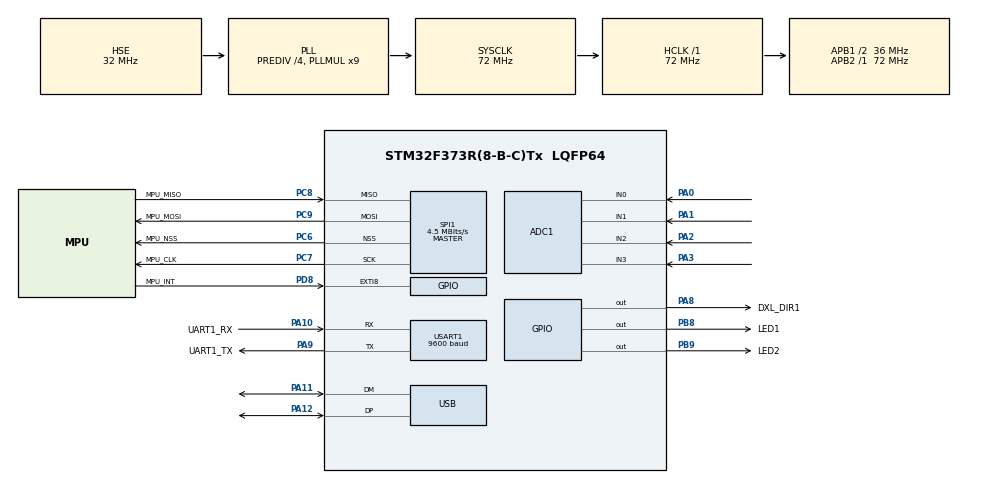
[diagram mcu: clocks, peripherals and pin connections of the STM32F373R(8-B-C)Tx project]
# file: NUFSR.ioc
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ADC1.Channel-0\#ChannelRegularConversion=ADC_CHANNEL_0
ADC1.Channel-1\#ChannelRegularConversion=ADC_CHANNEL_1
ADC1.Channel-2\#ChannelRegularConversion=ADC_CHANNEL_2
ADC1.Channel-3\#ChannelRegularConversion=ADC_CHANNEL_3
ADC1.ContinuousConvMode=DISABLE
ADC1.DataAlign=ADC_DATAALIGN_RIGHT
ADC1.ExternalTrigConv=ADC_EXTERNALTRIGCONV_T3_TRGO
ADC1.NbrOfConversion=4
ADC1.NbrOfConversionFlag=1
ADC1.Rank-0\#ChannelRegularConversion=1
ADC1.Rank-1\#ChannelRegularConversion=2
ADC1.Rank-2\#ChannelRegularConversion=3
ADC1.Rank-3\#ChannelRegularConversion=4
ADC1.SamplingTime-0\#ChannelRegularConversion=ADC_SAMPLETIME_1CYCLE_5
ADC1.SamplingTime-1\#ChannelRegularConversion=ADC_SAMPLETIME_1CYCLE_5
ADC1.SamplingTime-2\#ChannelRegularConversion=ADC_SAMPLETIME_1CYCLE_5
ADC1.SamplingTime-3\#ChannelRegularConversion=ADC_SAMPLETIME_1CYCLE_5
ADC1.master=1
Dma.ADC1.0.Direction=DMA_PERIPH_TO_MEMORY
Dma.ADC1.0.Instance=DMA1_Channel1
Dma.ADC1.0.MemDataAlignment=DMA_MDATAALIGN_HALFWORD
Dma.ADC1.0.MemInc=DMA_MINC_ENABLE
Dma.ADC1.0.Mode=DMA_CIRCULAR
Dma.ADC1.0.PeriphDataAlignment=DMA_PDATAALIGN_HALFWORD
Dma.ADC1.0.PeriphInc=DMA_PINC_DISABLE
Dma.ADC1.0.Priority=DMA_PRIORITY_VERY_HIGH
Dma.Request0=ADC1
Dma.Request1=USART1_RX
Dma.Request2=USART1_TX
Dma.USART1_RX.1.Direction=DMA_PERIPH_TO_MEMORY
Dma.USART1_RX.1.Instance=DMA1_Channel5
Dma.USART1_RX.1.MemDataAlignment=DMA_MDATAALIGN_BYTE
Dma.USART1_RX.1.MemInc=DMA_MINC_ENABLE
Dma.USART1_RX.1.Mode=DMA_NORMAL
Dma.USART1_RX.1.PeriphDataAlignment=DMA_PDATAALIGN_BYTE
Dma.USART1_RX.1.PeriphInc=DMA_PINC_DISABLE
Dma.USART1_RX.1.Priority=DMA_PRIORITY_LOW
Dma.USART1_TX.2.Direction=DMA_MEMORY_TO_PERIPH
Dma.USART1_TX.2.Instance=DMA1_Channel4
Dma.USART1_TX.2.MemDataAlignment=DMA_MDATAALIGN_BYTE
Dma.USART1_TX.2.MemInc=DMA_MINC_ENABLE
Dma.USART1_TX.2.Mode=DMA_NORMAL
Dma.USART1_TX.2.PeriphDataAlignment=DMA_PDATAALIGN_BYTE
Dma.USART1_TX.2.PeriphInc=DMA_PINC_DISABLE
Dma.USART1_TX.2.Priority=DMA_PRIORITY_LOW
Mcu.Family=STM32F3
Mcu.Name=STM32F373R(8-B-C)Tx
Mcu.Package=LQFP64
NVIC.ADC1_IRQn=true\:0\:0\:false\:false\:true\:true\:true\:true
NVIC.DMA1_Channel1_IRQn=true\:0\:0\:false\:false\:true\:false\:true\:true
NVIC.DMA1_Channel4_IRQn=true\:0\:0\:false\:false\:true\:false\:true\:true
NVIC.DMA1_Channel5_IRQn=true\:0\:0\:false\:false\:true\:false\:true\:true
NVIC.EXTI9_5_IRQn=true\:0\:0\:false\:false\:true\:true\:true\:true
NVIC.PriorityGroup=NVIC_PRIORITYGROUP_4
NVIC.SPI1_IRQn=true\:0\:0\:false\:false\:true\:true\:true\:true
NVIC.USART1_IRQn=true\:0\:0\:false\:false\:true\:true\:true\:true
PA0.Mode=IN0
PA0.Signal=ADC1_IN0
PA1.Mode=IN1
PA1.Signal=ADC1_IN1
PA10.GPIO_Label=UART1_RX
PA10.GPIO_ModeDefaultPP=GPIO_MODE_AF_PP
PA10.GPIO_PuPd=GPIO_NOPULL
PA10.GPIO_Speed=GPIO_SPEED_FREQ_HIGH
PA10.Mode=Asynchronous
PA10.Signal=USART1_RX
PA11.Mode=Device
PA11.Signal=USB_DM
PA12.Mode=Device
PA12.Signal=USB_DP
PA13.GPIO_Label=JTAG_TMS
PA13.Mode=JTAG_5_pins
PA13.Signal=SYS_JTMS-SWDIO
PA14.GPIO_Label=JTAG_TCK
PA14.Mode=JTAG_5_pins
PA14.Signal=SYS_JTCK-SWCLK
PA15.GPIO_Label=JTAG_TDI
PA15.Mode=JTAG_5_pins
PA15.Signal=SYS_JTDI
PA2.Mode=IN2
PA2.Signal=ADC1_IN2
PA3.Mode=IN3
PA3.Signal=ADC1_IN3
PA8.GPIO_Label=DXL_DIR1
PA8.Signal=GPIO_Output
PA9.GPIO_Label=UART1_TX
PA9.GPIO_ModeDefaultPP=GPIO_MODE_AF_PP
PA9.GPIO_PuPd=GPIO_NOPULL
PA9.GPIO_Speed=GPIO_SPEED_FREQ_HIGH
PA9.Mode=Asynchronous
PA9.Signal=USART1_TX
PB3.GPIO_Label=JTAG_TDO
PB3.Mode=JTAG_5_pins
PB3.Signal=SYS_JTDO-TRACESWO
PB4.GPIO_Label=JTAG_RST
PB4.Mode=JTAG_5_pins
PB4.Signal=SYS_NJTRST
PB8.GPIO_Label=LED1
PB8.GPIO_ModeDefaultOutputPP=GPIO_MODE_OUTPUT_PP
PB8.GPIO_PuPd=GPIO_NOPULL
PB8.PinState=GPIO_PIN_SET
PB8.Signal=GPIO_Output
PB9.GPIO_Label=LED2
PB9.PinState=GPIO_PIN_RESET
PB9.Signal=GPIO_Output
PC6.GPIO_Label=MPU_NSS
PC6.Mode=NSS_Signal_Hard_Output
PC6.Signal=SPI1_NSS
PC7.GPIO_Label=MPU_CLK
PC7.Mode=Full_Duplex_Master
PC7.Signal=SPI1_SCK
PC8.GPIO_Label=MPU_MISO
PC8.Mode=Full_Duplex_Master
PC8.Signal=SPI1_MISO
PC9.GPIO_Label=MPU_MOSI
PC9.Mode=Full_Duplex_Master
PC9.Signal=SPI1_MOSI
PD8.GPIO_Label=MPU_INT
PD8.Signal=GPXTI8
PF0-OSC_IN.GPIO_Label=XTAL_32MHZ_IN
PF0-OSC_IN.Mode=HSE-External-Oscillator
PF0-OSC_IN.Signal=RCC_OSC_IN
PF1-OSC_OUT.GPIO_Label=XTAL_32MHZ_OUT
PF1-OSC_OUT.Mode=HSE-External-Oscillator
PF1-OSC_OUT.Signal=RCC_OSC_OUT
ProjectManager.HeapSize=0x200
ProjectManager.StackSize=0x400
ProjectManager.TargetToolchain=STM32CubeIDE
RCC.AHBFreq_Value=72000000
RCC.APB1CLKDivider=RCC_HCLK_DIV2
RCC.APB1Freq_Value=36000000
RCC.APB1TimFreq_Value=72000000
RCC.APB2Freq_Value=72000000
RCC.APB2TimFreq_Value=72000000
RCC.CortexFreq_Value=72000000
RCC.HCLKFreq_Value=72000000
RCC.HSE_VALUE=32000000
RCC.HSI_VALUE=8000000
RCC.LSE_VALUE=32768
RCC.PLLMUL=RCC_PLL_MUL9
RCC.PRESCALERUSB=RCC_USBCLKSOURCE_PLL_DIV1_5
RCC.RCC_PLLsource_Clock_Source_FROM_HSE=RCC_HSE_PREDIV_DIV4
RCC.SYSCLKFreq_VALUE=72000000
RCC.SYSCLKSource=RCC_SYSCLKSOURCE_PLLCLK
RCC.USBFreq_Value=48000000
RCC.Usart3ClockSelection=RCC_USART3CLKSOURCE_SYSCLK
SPI1.BaudRatePrescaler=SPI_BAUDRATEPRESCALER_16
SPI1.CLKPhase=SPI_PHASE_2EDGE
SPI1.CLKPolarity=SPI_POLARITY_HIGH
SPI1.CalculateBaudRate=4.5 MBits/s
SPI1.DataSize=SPI_DATASIZE_16BIT
SPI1.Direction=SPI_DIRECTION_2LINES
SPI1.Mode=SPI_MODE_MASTER
SPI1.VirtualNSS=VM_NSSHARD
SPI1.VirtualType=VM_MASTER
TIM3.Prescaler=10
TIM3.TIM_MasterOutputTrigger=TIM_TRGO_UPDATE
USART1.BaudRate=9600
USART1.Mode=MODE_TX_RX
USART1.VirtualMode-Asynchronous=VM_ASYNC
VP_TIM3_VS_ClockSourceINT.Mode=Internal
board=custom

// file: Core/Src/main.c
/* USER CODE BEGIN Header */
/**
  ******************************************************************************
  * @file           : main.c
  * @brief          : Main program body
  ******************************************************************************
  * @attention
  *
  * <h2><center>&copy; Copyright (c) 2020 STMicroelectronics.
  * All rights reserved.</center></h2>
  *
  * This software component is licensed by ST under BSD 3-Clause license,
  * the "License"; You may not use this file except in compliance with the
  * License. You may obtain a copy of the License at:
  *                        opensource.org/licenses/BSD-3-Clause
  *
  ******************************************************************************
  */
/* USER CODE END Header */
#include "main.h"
#include "adc.h"
#include "dma.h"
#include "spi.h"
#include "tim.h"
#include "usart.h"
#include "usb.h"
#include "gpio.h"

/* USER CODE BEGIN Includes */
#include "imu.h"
/* USER CODE END Includes */

void SystemClock_Config(void);
static void MX_NVIC_Init(void);

/* USER CODE BEGIN 0 */
//ADC_HandleTypeDef hadc1;
//DMA_HandleTypeDef hdma_adc1;
//TIM_HandleTypeDef htim3;

/* USER CODE END 0 */

int main(void)
{

  /* MCU Configuration--------------------------------------------------------*/

  /* Reset of all peripherals, Initializes the Flash interface and the Systick. */
  HAL_Init();

  /* Configure the system clock */
  SystemClock_Config();

  /* Initialize all configured peripherals */
  MX_GPIO_Init();
  MX_DMA_Init();
  MX_ADC1_Init();
  MX_SPI1_Init();
  MX_USART1_UART_Init();
  MX_USB_PCD_Init();
  MX_TIM3_Init();

  /* Initialize interrupts */
  MX_NVIC_Init();
  /* USER CODE BEGIN 2 */

  NUfsr_IMU_Init();
  uint16_t Rx = 0x0000;
  uint16_t* Ptr_Rx = &Rx;
  uint16_t adc_var[4];
//  uint8_t count;
//  uint8_t set_flag;
  /* USER CODE END 2 */

  /* Infinite loop */
  /* USER CODE BEGIN WHILE */
//  	count = 0;
    HAL_TIM_Base_Start(&htim3);
  	HAL_ADC_Start_DMA(&hadc1, &adc_var, 4); // DMA Start
  	while (1)
  	{
	  if ((adc_var[0] > 250) || (adc_var[3] > 250)) {
		  HAL_GPIO_WritePin(GPIOB,LED1_Pin,0);// LED ON
	  }
	  else {
		  HAL_GPIO_WritePin(GPIOB,LED1_Pin,1);// LED OFF
	  }
	  if ((adc_var[1] > 250) || (adc_var[2] > 250)) {
		  HAL_GPIO_WritePin(GPIOB,LED2_Pin,0);// LED ON
	  }
	  else {
		  HAL_GPIO_WritePin(GPIOB,LED2_Pin,1);// LED OFF
	  }

//	NUfsr_IMU_TransmitReceive(ACCEL_XOUT_L | IMU_READ, 0x00, Ptr_Rx, 1); //Previous code
//	NUfsr_UART_Transmit(&huart1, (void*)Ptr_Rx, 1);
	HAL_Delay(100);

  	}
    /* USER CODE END WHILE */

}

void SystemClock_Config(void)
{
  RCC_OscInitTypeDef RCC_OscInitStruct = {0};
  RCC_ClkInitTypeDef RCC_ClkInitStruct = {0};
  RCC_PeriphCLKInitTypeDef PeriphClkInit = {0};

  /** Initializes the RCC Oscillators according to the specified parameters
  * in the RCC_OscInitTypeDef structure.
  */
  RCC_OscInitStruct.OscillatorType = RCC_OSCILLATORTYPE_HSE;
  RCC_OscInitStruct.HSEState = RCC_HSE_ON;
  RCC_OscInitStruct.HSEPredivValue = RCC_HSE_PREDIV_DIV4;
  RCC_OscInitStruct.HSIState = RCC_HSI_ON;
  RCC_OscInitStruct.PLL.PLLState = RCC_PLL_ON;
  RCC_OscInitStruct.PLL.PLLSource = RCC_PLLSOURCE_HSE;
  RCC_OscInitStruct.PLL.PLLMUL = RCC_PLL_MUL9;
  if (HAL_RCC_OscConfig(&RCC_OscInitStruct) != HAL_OK)
  {
    Error_Handler();
  }

  /** Initializes the CPU, AHB and APB buses clocks
  */
  RCC_ClkInitStruct.ClockType = RCC_CLOCKTYPE_HCLK|RCC_CLOCKTYPE_SYSCLK
                              |RCC_CLOCKTYPE_PCLK1|RCC_CLOCKTYPE_PCLK2;
  RCC_ClkInitStruct.SYSCLKSource = RCC_SYSCLKSOURCE_PLLCLK;
  RCC_ClkInitStruct.AHBCLKDivider = RCC_SYSCLK_DIV1;
  RCC_ClkInitStruct.APB1CLKDivider = RCC_HCLK_DIV2;
  RCC_ClkInitStruct.APB2CLKDivider = RCC_HCLK_DIV1;

  if (HAL_RCC_ClockConfig(&RCC_ClkInitStruct, FLASH_LATENCY_2) != HAL_OK)
  {
    Error_Handler();
  }
  PeriphClkInit.PeriphClockSelection = RCC_PERIPHCLK_USB|RCC_PERIPHCLK_USART1
                              |RCC_PERIPHCLK_ADC1;
  PeriphClkInit.Usart1ClockSelection = RCC_USART1CLKSOURCE_PCLK2;
  PeriphClkInit.USBClockSelection = RCC_USBCLKSOURCE_PLL_DIV1_5;
  PeriphClkInit.Adc1ClockSelection = RCC_ADC1PCLK2_DIV2;

  if (HAL_RCCEx_PeriphCLKConfig(&PeriphClkInit) != HAL_OK)
  {
    Error_Handler();
  }
}

/**
  * @brief NVIC Configuration.
  * @retval None
  */
static void MX_NVIC_Init(void)
{
  /* USART1_IRQn interrupt configuration */
  HAL_NVIC_SetPriority(USART1_IRQn, 0, 0);
  HAL_NVIC_EnableIRQ(USART1_IRQn);
}

void Error_Handler(void)
{
  __disable_irq();
  while (1)
  {
  }
}
